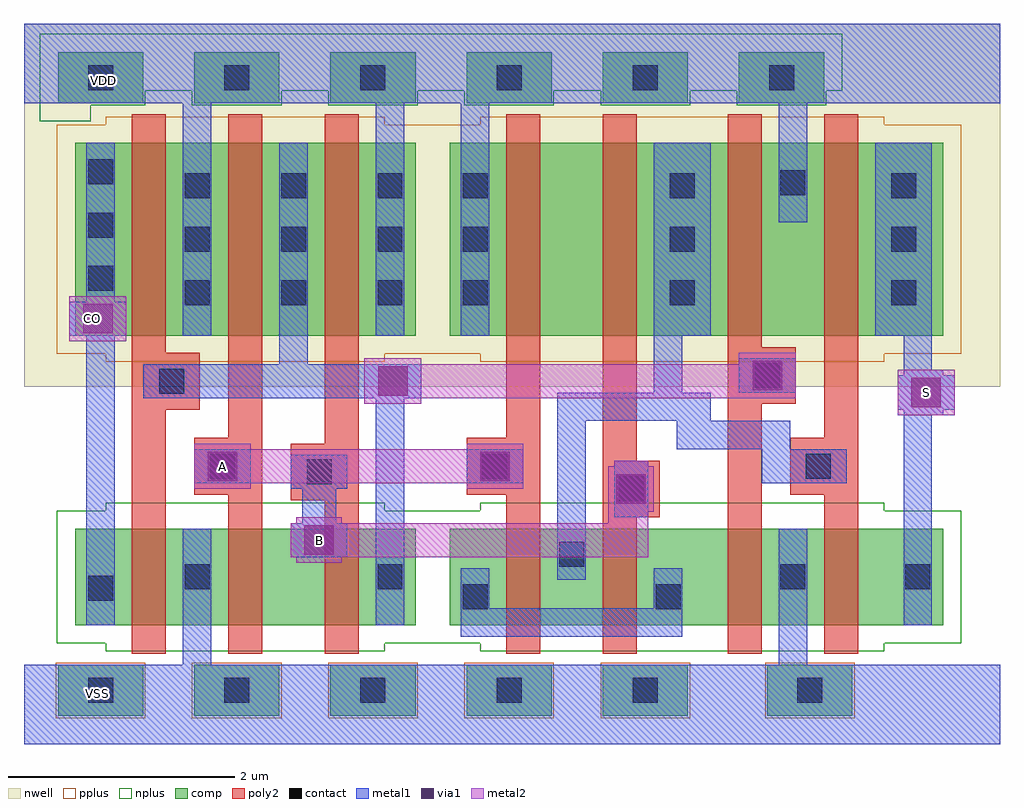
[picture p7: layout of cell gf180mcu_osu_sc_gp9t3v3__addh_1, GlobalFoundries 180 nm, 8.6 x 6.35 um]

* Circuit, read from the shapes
.subckt gf180mcu_osu_sc_gp9t3v3__addh_1 A B CO S VDD VSS
XM1 VSS n1 CO VSS nfet_03v3 w=0.85u l=0.3u
XM2 n2 A VSS VSS nfet_03v3 w=0.85u l=0.3u
XM3 n1 B n2 VSS nfet_03v3 w=0.85u l=0.3u
XM4 n3 A n4 VSS nfet_03v3 w=0.85u l=0.3u
XM5 n4 B n3 VSS nfet_03v3 w=0.85u l=0.3u
XM6 VSS n1 n4 VSS nfet_03v3 w=0.85u l=0.3u
XM7 S n3 VSS VSS nfet_03v3 w=0.85u l=0.3u
XM8 VDD n1 CO VDD pfet_03v3 w=1.7u l=0.3u
XM9 n1 A VDD VDD pfet_03v3 w=1.7u l=0.3u
XM10 VDD B n1 VDD pfet_03v3 w=1.7u l=0.3u
XM11 n5 A VDD VDD pfet_03v3 w=1.7u l=0.3u
XM12 n3 B n5 VDD pfet_03v3 w=1.7u l=0.3u
XM13 VDD n1 n3 VDD pfet_03v3 w=1.7u l=0.3u
XM14 S n3 VDD VDD pfet_03v3 w=1.7u l=0.3u
.ends

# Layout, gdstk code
import gdstk
lib = gdstk.Library(unit=1e-6, precision=1e-09)
def R(c, l, rs):  # rectangles x0, y0, x1, y1
    for r in rs: c.add(gdstk.rectangle(r[:2], r[2:], *l))
def A(c, l, x, y, w, h, nx, ny, dx, dy):  # array of equal rectangles
    R(c, l, [(x+i*dx, y+j*dy, x+i*dx+w, y+j*dy+h) for i in range(nx) for j in range(ny)])
nwell = (21, 0)
comp = (22, 0)
poly2 = (30, 0)
pplus = (31, 0)
nplus = (32, 0)
contact = (33, 0)
metal1 = (34, 0)
via1 = (35, 0)
metal2 = (36, 0)

gf180mcu_osu_sc_gp9t3v3_ = lib.new_cell('gf180mcu_osu_sc_gp9t3v3__addh_1')
R(gf180mcu_osu_sc_gp9t3v3_, nwell, [(0,3.15,8.6,6.35)])
A(gf180mcu_osu_sc_gp9t3v3_, comp, 0.3, 0.25, 0.75, 0.45, 5, 1, 1.2, 0)
A(gf180mcu_osu_sc_gp9t3v3_, comp, 0.3, 5.65, 0.75, 0.45, 6, 1, 1.2, 0)
R(gf180mcu_osu_sc_gp9t3v3_, comp, [(6.55,0.25,7.3,0.7), (0.45,1.05,3.45,1.9), (3.75,1.05,8.1,1.9), (0.45,3.6,3.45,5.3), (3.75,3.6,8.1,5.3)])
R(gf180mcu_osu_sc_gp9t3v3_, poly2, [(0.95,0.8,1.25,2.95), (1.8,0.8,2.1,2.2), (2.65,0.8,2.95,2.15), (4.25,0.8,4.55,2.2), (5.1,0.8,5.4,2), (6.2,0.8,6.5,3), (7.05,0.8,7.35,2.2), (5.1,2,5.6,2.5), (2.35,2.15,2.95,2.65), (1.5,2.2,2.1,2.7), (3.9,2.2,4.55,2.7), (6.75,2.2,7.35,2.7), (5.1,2.5,5.4,5.55), (2.65,2.65,2.95,5.55), (1.8,2.7,2.1,5.55), (4.25,2.7,4.55,5.55), (7.05,2.7,7.35,5.55), (0.95,2.95,1.55,3.45), (6.2,3,6.8,3.5), (0.95,3.45,1.25,5.55), (6.2,3.5,6.5,5.55)])
A(gf180mcu_osu_sc_gp9t3v3_, pplus, 0.28, 0.23, 0.79, 0.49, 5, 1, 1.2, 0)
R(gf180mcu_osu_sc_gp9t3v3_, pplus, [(6.53,0.23,7.32,0.72), (0.72,3.37,3.18,3.44), (4.02,3.37,7.58,3.44), (0.29,3.44,8.26,5.46), (0.72,5.46,3.18,5.53), (4.02,5.46,7.58,5.53)])
A(gf180mcu_osu_sc_gp9t3v3_, nplus, 1.48, 5.63, 0.79, 0.13, 5, 1, 1.2, 0)
R(gf180mcu_osu_sc_gp9t3v3_, nplus, [(0.72,0.82,3.18,0.89), (4.02,0.82,7.58,0.89), (0.29,0.89,8.26,2.06), (0.72,2.06,3.18,2.13), (4.02,2.06,7.58,2.13), (0.14,5.49,0.59,5.63), (0.14,5.63,1.07,5.76), (0.14,5.76,7.21,6.26)])
A(gf180mcu_osu_sc_gp9t3v3_, contact, 0.565, 0.365, 0.22, 0.22, 5, 1, 1.2, 0)
A(gf180mcu_osu_sc_gp9t3v3_, contact, 1.415, 3.87, 0.22, 0.22, 3, 3, 0.85, 0.47)
A(gf180mcu_osu_sc_gp9t3v3_, contact, 3.865, 3.87, 0.22, 0.22, 1, 3, 0, 0.47)
A(gf180mcu_osu_sc_gp9t3v3_, contact, 5.69, 3.87, 0.22, 0.22, 1, 3, 0, 0.47)
A(gf180mcu_osu_sc_gp9t3v3_, contact, 7.64, 3.87, 0.22, 0.22, 1, 3, 0, 0.47)
A(gf180mcu_osu_sc_gp9t3v3_, contact, 0.565, 3.995, 0.22, 0.22, 1, 3, 0, 0.47)
A(gf180mcu_osu_sc_gp9t3v3_, contact, 0.565, 5.765, 0.22, 0.22, 6, 1, 1.2, 0)
R(gf180mcu_osu_sc_gp9t3v3_, contact, [(6.815,0.365,7.035,0.585), (3.865,1.19,4.085,1.41), (5.565,1.19,5.785,1.41), (0.565,1.265,0.785,1.485), (1.415,1.365,1.635,1.585), (3.115,1.365,3.335,1.585), (6.665,1.365,6.885,1.585), (7.765,1.365,7.985,1.585), (4.715,1.565,4.935,1.785), (5.24,2.14,5.46,2.36), (2.49,2.29,2.71,2.51), (1.64,2.34,1.86,2.56), (4.04,2.34,4.26,2.56), (6.89,2.34,7.11,2.56), (1.19,3.09,1.41,3.31), (6.44,3.14,6.66,3.36), (6.665,4.84,6.885,5.06)])
R(gf180mcu_osu_sc_gp9t3v3_, metal1, [(0,0,8.6,0.7), (1.4,0.7,1.65,1.9), (6.65,0.7,6.9,1.9), (3.85,0.95,5.8,1.2), (0.55,1.05,0.8,3.6), (3.1,1.05,3.35,3.05), (7.75,1.05,8,2.9), (3.85,1.2,4.1,1.55), (5.55,1.2,5.8,1.55), (4.7,1.45,4.95,2.85), (2.35,1.65,2.85,1.95), (2.45,1.95,2.75,2.25), (5.2,2,5.5,2.5), (2.35,2.25,2.85,2.55), (1.5,2.3,2,2.6), (3.9,2.3,4.4,2.6), (6.5,2.3,7.25,2.6), (5.75,2.6,6.75,2.85), (4.7,2.85,6.05,3.1), (7.75,2.9,8.1,2.95), (7.7,2.95,8.2,3.25), (1.05,3.05,3.5,3.35), (5.55,3.1,5.8,3.6), (6.3,3.1,6.8,3.4), (7.75,3.25,8.1,3.3), (7.75,3.3,8,3.6), (2.25,3.35,2.5,5.3), (0.4,3.6,0.9,3.9), (1.4,3.6,1.65,5.65), (3.1,3.6,3.35,5.65), (3.85,3.6,4.1,5.65), (5.55,3.6,6.05,5.3), (7.5,3.6,8,5.3), (0.55,3.9,0.8,5.3), (6.65,4.6,6.9,5.65), (0,5.65,8.6,6.35)])
R(gf180mcu_osu_sc_gp9t3v3_, via1, [(2.47,1.67,2.73,1.93), (5.22,2.12,5.48,2.38), (1.62,2.32,1.88,2.58), (4.02,2.32,4.28,2.58), (7.82,2.97,8.08,3.23), (3.12,3.07,3.38,3.33), (6.42,3.12,6.68,3.38), (0.52,3.62,0.78,3.88)])
R(gf180mcu_osu_sc_gp9t3v3_, metal2, [(2.4,1.6,2.8,1.65), (2.35,1.65,5.5,1.95), (2.4,1.95,2.8,2), (5.15,1.95,5.5,2.05), (5.15,2.05,5.55,2.45), (1.5,2.25,2,2.3), (3.9,2.25,4.4,2.3), (1.5,2.3,4.4,2.6), (5.2,2.45,5.5,2.5), (1.5,2.6,2,2.65), (3.9,2.6,4.4,2.65), (7.7,2.9,8.2,3.3), (3,3,3.5,3.05), (3,3.05,6.8,3.35), (3,3.35,3.5,3.4), (6.3,3.35,6.8,3.45), (0.4,3.55,0.9,3.95)])
gf180mcu_osu_sc_gp9t3v3_.add(gdstk.Label('VDD', (0.7,5.85), layer=34, texttype=10))
gf180mcu_osu_sc_gp9t3v3_.add(gdstk.Label('VSS', (0.65,0.45), layer=34, texttype=10))
gf180mcu_osu_sc_gp9t3v3_.add(gdstk.Label('A', (1.75,2.45), layer=36, texttype=10))
gf180mcu_osu_sc_gp9t3v3_.add(gdstk.Label('B', (2.6,1.8), layer=36, texttype=10))
gf180mcu_osu_sc_gp9t3v3_.add(gdstk.Label('S', (7.95,3.1), layer=36, texttype=10))
gf180mcu_osu_sc_gp9t3v3_.add(gdstk.Label('CO', (0.6,3.75), layer=36, texttype=10))

lib.write_gds('gf180mcu_osu_sc_gp9t3v3__addh_1.gds')
